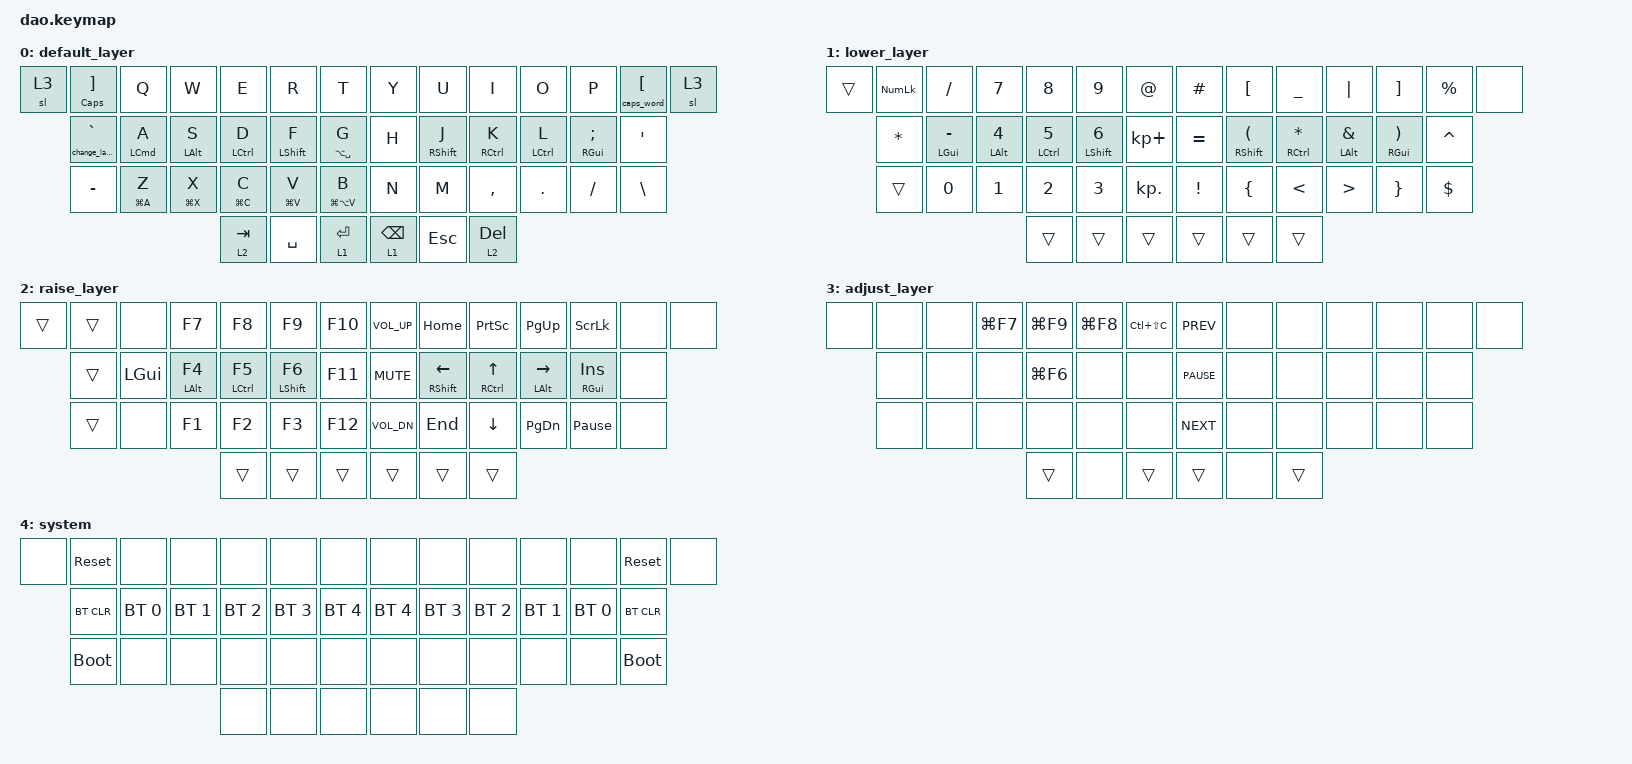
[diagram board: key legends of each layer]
/*
 * Copyright (c) 2021 Rafael Yumagulov
 *
 * SPDX-License-Identifier: MIT
 */

#include <behaviors.dtsi>
#include <dt-bindings/zmk/bt.h>
#include <dt-bindings/zmk/keys.h>

#define DEF 0
#define LWR 1
#define RSE 2
#define ADJ 3

&lt { quick_tap_ms = <200>; };

&mt {
    quick_tap_ms = <120>;
    flavor = "tap-preferred";
};

/ {
    chosen {
        // zmk,matrix_transform = &default_transform;

        zmk,matrix_transform = &extra_keys_transform;
    };
};

/ {
    macros {
        lock_sceen: lock_sceen {
            compatible = "zmk,behavior-macro";
            #binding-cells = <0>;
            bindings =
                <&macro_press>,
                <&kp LEFT_GUI &kp LEFT_CONTROL &kp Q>,
                <&macro_release>,
                <&kp LEFT_GUI &kp LEFT_CONTROL &kp Q>;

            label = "LOCK_SCEEN";
        };

        undo: undo {
            compatible = "zmk,behavior-macro";
            #binding-cells = <0>;
            bindings =
                <&macro_press>,
                <&kp LEFT_GUI &kp Z>,
                <&macro_release>,
                <&kp LEFT_GUI &kp Z>;

            label = "UNDO";
        };

        redo: redo {
            compatible = "zmk,behavior-macro";
            #binding-cells = <0>;
            bindings =
                <&macro_press>,
                <&kp LEFT_SHIFT &kp LEFT_GUI &kp Z>,
                <&macro_release>,
                <&kp LEFT_SHIFT &kp LEFT_GUI &kp Z>;

            label = "REDO";
        };

        change_layout: change_layout {
            compatible = "zmk,behavior-macro";
            #binding-cells = <0>;
            bindings =
                <&macro_press>,
                <&kp LEFT_GUI &kp SPACE>,
                <&macro_release>,
                <&kp LEFT_GUI &kp SPACE>;

            label = "CHANGE_LAYOUT";
        };

        double_shift: double_shift {
            compatible = "zmk,behavior-macro";
            #binding-cells = <0>;
            bindings =
                <&kp LEFT_SHIFT>,
                <&macro_wait_time 30>,
                <&kp LEFT_SHIFT>;

            label = "DOUBLE_SHIFT";
        };

        plain_text: plain_text {
            compatible = "zmk,behavior-macro";
            #binding-cells = <0>;
            bindings =
                <&macro_press>,
                <&kp LEFT_SHIFT &kp LEFT_GUI &kp K>,
                <&macro_release>,
                <&kp LEFT_SHIFT &kp LEFT_GUI &kp K>;

            label = "PLAIN_TEXT";
        };
    };

    combos {
        compatible = "zmk,combos";

        combo_next {
            timeout-ms = <50>;
            key-positions = <22 23>;
            layers = <2>;
            bindings = <&kp C_NEXT>;
        };

        combo_prev {
            timeout-ms = <50>;
            key-positions = <21 22>;
            layers = <2>;
            bindings = <&kp C_PREVIOUS>;
        };

        combo_pause {
            timeout-ms = <50>;
            key-positions = <21 22 23>;
            layers = <2>;
            bindings = <&kp C_PLAY_PAUSE>;
        };

        lock_screen {
            bindings = <&lock_sceen>;
            key-positions = <16 17 18>;
            layers = <0>;
            timeout-ms = <50>;
        };

        undo {
            bindings = <&undo>;
            key-positions = <21 22>;
            layers = <0>;
            timeout-ms = <50>;
        };

        redo {
            bindings = <&redo>;
            key-positions = <22 23>;
            layers = <0>;
            timeout-ms = <50>;
        };

        double_shift {
            bindings = <&double_shift>;
            key-positions = <39 42>;
            layers = <0>;
        };

        plain_text {
            bindings = <&plain_text>;
            key-positions = <16 17>;
            layers = <0>;
            timeout-ms = <50>;
        };
    };

    behaviors {
        mt_caps_word: mt_caps_word {
            compatible = "zmk,behavior-hold-tap";
            label = "MT_CAPS_WORD";
            bindings = <&caps_word>, <&kp>;

            #binding-cells = <2>;
            tapping-term-ms = <200>;
            flavor = "tap-preferred";
            quick-tap-ms = <120>;
        };

        homerow_left: homerow_left {
            compatible = "zmk,behavior-hold-tap";
            label = "HOMEROW_LEFT";
            bindings = <&kp>, <&kp>;

            #binding-cells = <2>;
            tapping-term-ms = <170>;
            flavor = "tap-preferred";
        };

        homerow_right: homerow_right {
            compatible = "zmk,behavior-hold-tap";
            label = "HOMEROW_RIGHT";
            bindings = <&kp>, <&kp>;

            #binding-cells = <2>;
            tapping-term-ms = <170>;
            flavor = "tap-preferred";
        };

        mt_change_layout: mt_change_layout {
            compatible = "zmk,behavior-hold-tap";
            label = "MT_CHANGE_LAYOUT";
            bindings = <&change_layout>, <&kp>;

            #binding-cells = <2>;
            tapping-term-ms = <200>;
            flavor = "tap-preferred";
        };

        mt_shortcut: mt_shortcut {
            compatible = "zmk,behavior-hold-tap";
            label = "MT_SHORTCUT";
            bindings = <&kp>, <&kp>;

            #binding-cells = <2>;
            tapping-term-ms = <300>;
            flavor = "tap-preferred";
        };
    };

    keymap {
        compatible = "zmk,keymap";

        default_layer {
            bindings = <
&sl 3  &mt CAPSLOCK RIGHT_BRACKET  &kp Q                         &kp W                     &kp E                         &kp R                       &kp T                       &kp Y            &kp U                         &kp I                           &kp O                          &kp P                               &mt_caps_word 0 LEFT_BRACKET  &sl 3
       &mt_change_layout 0 GRAVE   &homerow_left LEFT_COMMAND A  &homerow_left LEFT_ALT S  &homerow_left LEFT_CONTROL D  &homerow_left LEFT_SHIFT F  &mt LA(SPACE) G             &kp H            &homerow_right RIGHT_SHIFT J  &homerow_right RIGHT_CONTROL K  &homerow_right LEFT_CONTROL L  &homerow_right RIGHT_GUI SEMICOLON  &kp APOSTROPHE
       &kp MINUS                   &mt_shortcut LG(A) Z          &mt_shortcut LG(X) X      &mt_shortcut LG(C) C          &mt_shortcut LG(V) V        &mt_shortcut LG(LA(V)) B    &kp N            &kp M                         &kp COMMA                       &kp DOT                        &kp FSLH                            &kp BSLH
                                                                                           &lt 2 TAB                     &kp SPACE                   &lt 1 RET                   &lt 1 BACKSPACE  &kp ESCAPE                    &lt 2 DEL
            >;
        };

        lower_layer {
            bindings = <
&trans  &kp KP_NUMLOCK  &kp SLASH                     &kp N7                           &kp N8                         &kp N9                             &kp AT_SIGN    &kp HASH   &kp LEFT_BRACKET                             &kp UNDERSCORE                         &kp PIPE                           &kp RIGHT_BRACKET                           &kp PERCENT  &none
        &kp STAR        &homerow_left LEFT_GUI MINUS  &homerow_left LEFT_ALT NUMBER_4  &homerow_left LEFT_CONTROL N5  &homerow_left LEFT_SHIFT NUMBER_6  &kp KP_PLUS    &kp EQUAL  &homerow_right RIGHT_SHIFT LEFT_PARENTHESIS  &homerow_right RIGHT_CONTROL ASTERISK  &homerow_right LEFT_ALT AMPERSAND  &homerow_right RIGHT_GUI RIGHT_PARENTHESIS  &kp CARET
        &trans          &kp N0                        &kp NUMBER_1                     &kp NUMBER_2                   &kp NUMBER_3                       &kp KP_DOT     &kp EXCL   &kp LEFT_BRACE                               &kp LESS_THAN                          &kp GREATER_THAN                   &kp RIGHT_BRACE                             &kp DOLLAR
                                                                                       &trans                         &trans                             &trans         &trans     &trans                                       &trans
            >;
        };

        raise_layer {
            bindings = <
&trans  &trans  &none         &kp F7                     &kp F8                         &kp F9                       &kp F10    &kp C_VOL_UP  &kp HOME                               &kp PSCRN                              &kp PG_UP                      &kp SLCK                      &none  &none
        &trans  &kp LEFT_GUI  &homerow_left LEFT_ALT F4  &homerow_left LEFT_CONTROL F5  &homerow_left LEFT_SHIFT F6  &kp F11    &kp C_MUTE    &homerow_right RIGHT_SHIFT LEFT_ARROW  &homerow_right RIGHT_CONTROL UP_ARROW  &homerow_right LEFT_ALT RIGHT  &homerow_right RIGHT_GUI INS  &none
        &trans  &none         &kp F1                     &kp F2                         &kp F3                       &kp F12    &kp C_VOL_DN  &kp END                                &kp DOWN                               &kp PG_DN                      &kp PAUSE_BREAK               &none
                                                         &trans                         &trans                       &trans     &trans        &trans                                 &trans
            >;
        };

        adjust_layer {
            bindings = <
&none  &none  &none  &kp LG(F7)  &kp LG(F9)  &kp LG(F8)  &kp LC(LS(C))    &kp C_PREV   &none  &none   &none  &none  &none  &none
       &none  &none  &none       &kp LG(F6)  &none       &none            &kp C_PAUSE  &none  &none   &none  &none  &none
       &none  &none  &none       &none       &none       &none            &kp C_NEXT   &none  &none   &none  &none  &none
                                 &trans      &none       &trans           &trans       &none  &trans
            >;
        };

        system {
            bindings = <
&none  &sys_reset   &none         &none         &none         &none         &none           &none         &none         &none         &none         &none         &sys_reset   &none
       &bt BT_CLR   &bt BT_SEL 0  &bt BT_SEL 1  &bt BT_SEL 2  &bt BT_SEL 3  &bt BT_SEL 4    &bt BT_SEL 4  &bt BT_SEL 3  &bt BT_SEL 2  &bt BT_SEL 1  &bt BT_SEL 0  &bt BT_CLR
       &bootloader  &none         &none         &none         &none         &none           &none         &none         &none         &none         &none         &bootloader
                                                &none         &none         &none           &none         &none         &none
            >;
        };
    };

    conditional_layers {
        compatible = "zmk,conditional-layers";

        system {
            if-layers = <1 2>;
            then-layer = <4>;
        };
    };
};
